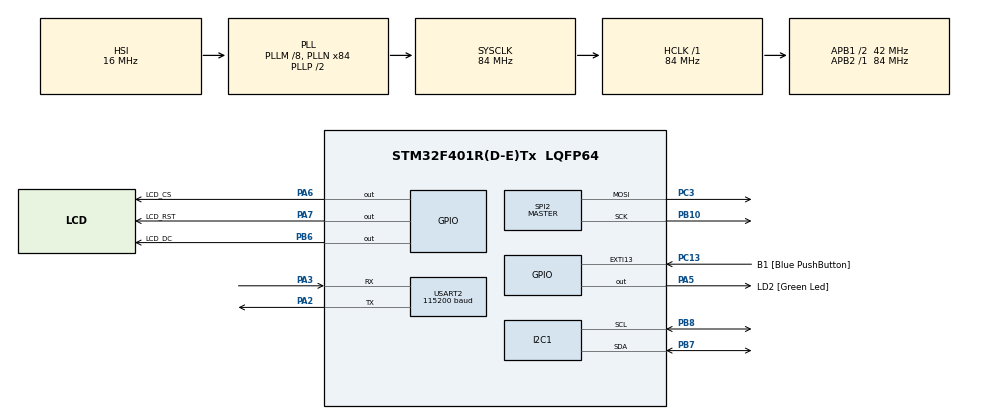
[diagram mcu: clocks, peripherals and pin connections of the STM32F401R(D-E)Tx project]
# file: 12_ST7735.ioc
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Mcu.Family=STM32F4
PC3.Mode=TX_Only_Simplex_Unidirect_Master
TIM10.Prescaler=9999
RCC.CortexFreq_Value=84000000
PC13-ANTI_TAMP.GPIO_PuPd=GPIO_NOPULL
SPI2.VirtualType=VM_MASTER
PB10.Mode=TX_Only_Simplex_Unidirect_Master
PC13-ANTI_TAMP.GPIO_Label=B1 [Blue PushButton]
PA14.GPIO_Label=TCK
PA6.GPIO_Label=LCD_CS
PB6.GPIO_Label=LCD_DC
RCC.APB1CLKDivider=RCC_HCLK_DIV2
PC14-OSC32_IN.Signal=RCC_OSC32_IN
NVIC.USART2_IRQn=true\:0\:0\:false\:false\:true\:true\:true
USART2.BaudRate=115200
RCC.SYSCLKSource=RCC_SYSCLKSOURCE_PLLCLK
ProjectManager.StackSize=0x400
PA3.Mode=Asynchronous
PA13.Signal=SYS_JTMS-SWDIO
PH0\ -\ OSC_IN.Signal=RCC_OSC_IN
ProjectManager.TargetToolchain=STM32CubeIDE
RCC.HCLKFreq_Value=84000000
RCC.APB2TimFreq_Value=84000000
PB6.Signal=GPIO_Output
VP_TIM10_VS_ClockSourceINT.Mode=Enable_Timer
PC3.Signal=SPI2_MOSI
RCC.LSE_VALUE=32768
PC15-OSC32_OUT.Signal=RCC_OSC32_OUT
RCC.AHBFreq_Value=84000000
SPI2.BaudRatePrescaler=SPI_BAUDRATEPRESCALER_8
PB10.Signal=SPI2_SCK
PA5.Signal=GPIO_Output
RCC.HSE_VALUE=8000000
PH1\ -\ OSC_OUT.Signal=RCC_OSC_OUT
board=NUCLEO-F401RE
PC13-ANTI_TAMP.Signal=GPXTI13
RCC.VCOOutputFreq_Value=168000000
TIM10.Period=8399
RCC.APB2Freq_Value=84000000
PA5.GPIO_PuPd=GPIO_NOPULL
PB7.Signal=I2C1_SDA
Mcu.Name=STM32F401R(D-E)Tx
PA2.Signal=USART2_TX
PA13.GPIO_Label=TMS
RCC.48MHZClocksFreq_Value=24000000
PB3.Signal=SYS_JTDO-SWO
RCC.SYSCLKFreq_VALUE=84000000
Mcu.Package=LQFP64
PA6.Signal=GPIO_Output
PA7.GPIO_Label=LCD_RST
SPI2.Mode=SPI_MODE_MASTER
PA5.GPIO_Label=LD2 [Green Led]
USART2.VirtualMode=VM_ASYNC
PC13-ANTI_TAMP.GPIO_ModeDefaultEXTI=GPIO_MODE_IT_FALLING
PB7.Mode=I2C
PA14.Signal=SYS_JTCK-SWCLK
ProjectManager.HeapSize=0x200
NVIC.TIM1_UP_TIM10_IRQn=true\:0\:0\:false\:false\:true\:true\:true
RCC.HSI_VALUE=16000000
PA5.GPIO_Speed=GPIO_SPEED_FREQ_LOW
RCC.PLLQ=7
NVIC.PriorityGroup=NVIC_PRIORITYGROUP_0
RCC.PLLM=8
PB8.Mode=I2C
RCC.PLLN=84
RCC.APB1TimFreq_Value=84000000
PB8.Signal=I2C1_SCL
PA2.Mode=Asynchronous
SPI2.Direction=SPI_DIRECTION_2LINES
RCC.APB1Freq_Value=42000000
PA5.GPIO_Mode=GPIO_MODE_OUTPUT_PP
PA3.Signal=USART2_RX
PA7.Signal=GPIO_Output
PB3.GPIO_Label=SWO

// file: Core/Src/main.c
/* USER CODE BEGIN Header */
/**
 ******************************************************************************
 * @file           : main.c
 * @brief          : Główny plik programu. Udało się zrealizować odczytanie temperatury i ciśnienia. Po odczytaniu danych z czujnika wartości są wyświetlane na wyświetlaczu TFT oraz wysyłane co 1 sekundę - przerwanie timera - do komputera interfejsem UART. W przypadku przekroczenia zakresu temperatur jest wystawiany odpowiedni komunikat.
 ******************************************************************************
 * @attention
 *
 * <h2><center>&copy; Copyright (c) 2021 STMicroelectronics.
 * All rights reserved.</center></h2>
 *
 * This software component is licensed by ST under BSD 3-Clause license,
 * the "License"; You may not use this file except in compliance with the
 * License. You may obtain a copy of the License at:
 *                        opensource.org/licenses/BSD-3-Clause
 *
 ******************************************************************************
 */
/* USER CODE END Header */
#include "main.h"
#include "i2c.h"
#include "spi.h"
#include "tim.h"
#include "usart.h"
#include "gpio.h"

/* USER CODE BEGIN Includes */
#include "macros.h"
/* USER CODE END Includes */

void SystemClock_Config(void);

int main(void) {

	/* MCU Configuration--------------------------------------------------------*/

	/* Reset of all peripherals, Initializes the Flash interface and the Systick. */
	HAL_Init();

	/* Configure the system clock */
	SystemClock_Config();

	/* Initialize all configured peripherals */
	MX_GPIO_Init();
	MX_SPI2_Init();
	MX_I2C1_Init();
	MX_USART2_UART_Init();
	MX_TIM10_Init();
	/* USER CODE BEGIN 2 */
	/* Initialize TIMER10 */
	HAL_TIM_Base_Start_IT(&htim10);
	/*Initialize BMP280 sensor*/

	BMP280_init();
	/*Initialize and test TFT display ST7735*/
	ST7735_Init(0);
	fillScreen(BLACK);
	ST7735_SetRotation(3);
	//testAll();
	/* USER CODE END 2 */

	/* Infinite loop */
	/* USER CODE BEGIN WHILE */
	while (1) {
		if ((errTemp = BMP280_TempRead(&temp)) == BMP280_OK && (errPres =
				BMP280_PressRead(&pres)) == BMP280_OK) {

			//jeśli funkcje nie zwróciły błędów zostanie wykonana ta część funkcji- BMP280_OK = 0;
			if (temp > TEMP_MAX) {
				if (refreshScreen1 == 0) {
					refreshScreen1 = 1;
					refreshScreen2 = 0;
					refreshScreen3 = 0;
					refreshScreen4 = 0;
					fillScreen(RED);
				}
				writeTempHighWarn(temp);
			} else if (temp < TEMP_MIN) {
				if (refreshScreen2 == 0) {
					refreshScreen1 = 0;
					refreshScreen2 = 1;
					refreshScreen3 = 0;
					refreshScreen4 = 0;
					fillScreen(RED);
				}
				writeTempLowWarn(temp);
			} else if (temp > TEMP_MIN && temp < TEMP_MAX) {
				if (refreshScreen3 == 0) {
					refreshScreen1 = 0;
					refreshScreen2 = 0;
					refreshScreen3 = 1;
					refreshScreen4 = 0;
					fillScreen(BLACK);
					//jednokrotne odświeżenie wyświetlacza
				}
				writeMenu();
				writeTemp(temp);
				writePress(pres);
			}
		} else {
			if (refreshScreen4 == 0) {
				refreshScreen1 = 0;
				refreshScreen2 = 0;
				refreshScreen3 = 0;
				refreshScreen4 = 1;
				fillScreen(BLACK);
				//jednokrotne odświeżenie wyświetlacza
			}
			errMenu(errTemp, errPres);
		}

		/* USER CODE END WHILE */

	}
}

void SystemClock_Config(void) {
	RCC_OscInitTypeDef RCC_OscInitStruct = { 0 };
	RCC_ClkInitTypeDef RCC_ClkInitStruct = { 0 };

	/** Configure the main internal regulator output voltage
	 */
	__HAL_RCC_PWR_CLK_ENABLE();
	__HAL_PWR_VOLTAGESCALING_CONFIG(PWR_REGULATOR_VOLTAGE_SCALE2);
	/** Initializes the RCC Oscillators according to the specified parameters
	 * in the RCC_OscInitTypeDef structure.
	 */
	RCC_OscInitStruct.OscillatorType = RCC_OSCILLATORTYPE_HSI;
	RCC_OscInitStruct.HSIState = RCC_HSI_ON;
	RCC_OscInitStruct.HSICalibrationValue = RCC_HSICALIBRATION_DEFAULT;
	RCC_OscInitStruct.PLL.PLLState = RCC_PLL_ON;
	RCC_OscInitStruct.PLL.PLLSource = RCC_PLLSOURCE_HSI;
	RCC_OscInitStruct.PLL.PLLM = 8;
	RCC_OscInitStruct.PLL.PLLN = 84;
	RCC_OscInitStruct.PLL.PLLP = RCC_PLLP_DIV2;
	RCC_OscInitStruct.PLL.PLLQ = 7;
	if (HAL_RCC_OscConfig(&RCC_OscInitStruct) != HAL_OK) {
		Error_Handler();
	}
	/** Initializes the CPU, AHB and APB buses clocks
	 */
	RCC_ClkInitStruct.ClockType = RCC_CLOCKTYPE_HCLK | RCC_CLOCKTYPE_SYSCLK
			| RCC_CLOCKTYPE_PCLK1 | RCC_CLOCKTYPE_PCLK2;
	RCC_ClkInitStruct.SYSCLKSource = RCC_SYSCLKSOURCE_PLLCLK;
	RCC_ClkInitStruct.AHBCLKDivider = RCC_SYSCLK_DIV1;
	RCC_ClkInitStruct.APB1CLKDivider = RCC_HCLK_DIV2;
	RCC_ClkInitStruct.APB2CLKDivider = RCC_HCLK_DIV1;

	if (HAL_RCC_ClockConfig(&RCC_ClkInitStruct, FLASH_LATENCY_2) != HAL_OK) {
		Error_Handler();
	}
}

/* USER CODE BEGIN 4 */
/*!
 * @name functions to return global variables temp
 *
 */
double returnTemp(void) {
	return temp;
}

/*!
 * @name function to return global variables pres
 *
 */
double returnPres(void) {
	return pres;
}
/* USER CODE END 4 */

void Error_Handler(void) {
	__disable_irq();
	while (1) {
	}
}

/************************ (C) COPYRIGHT STMicroelectronics *****END OF FILE****/
